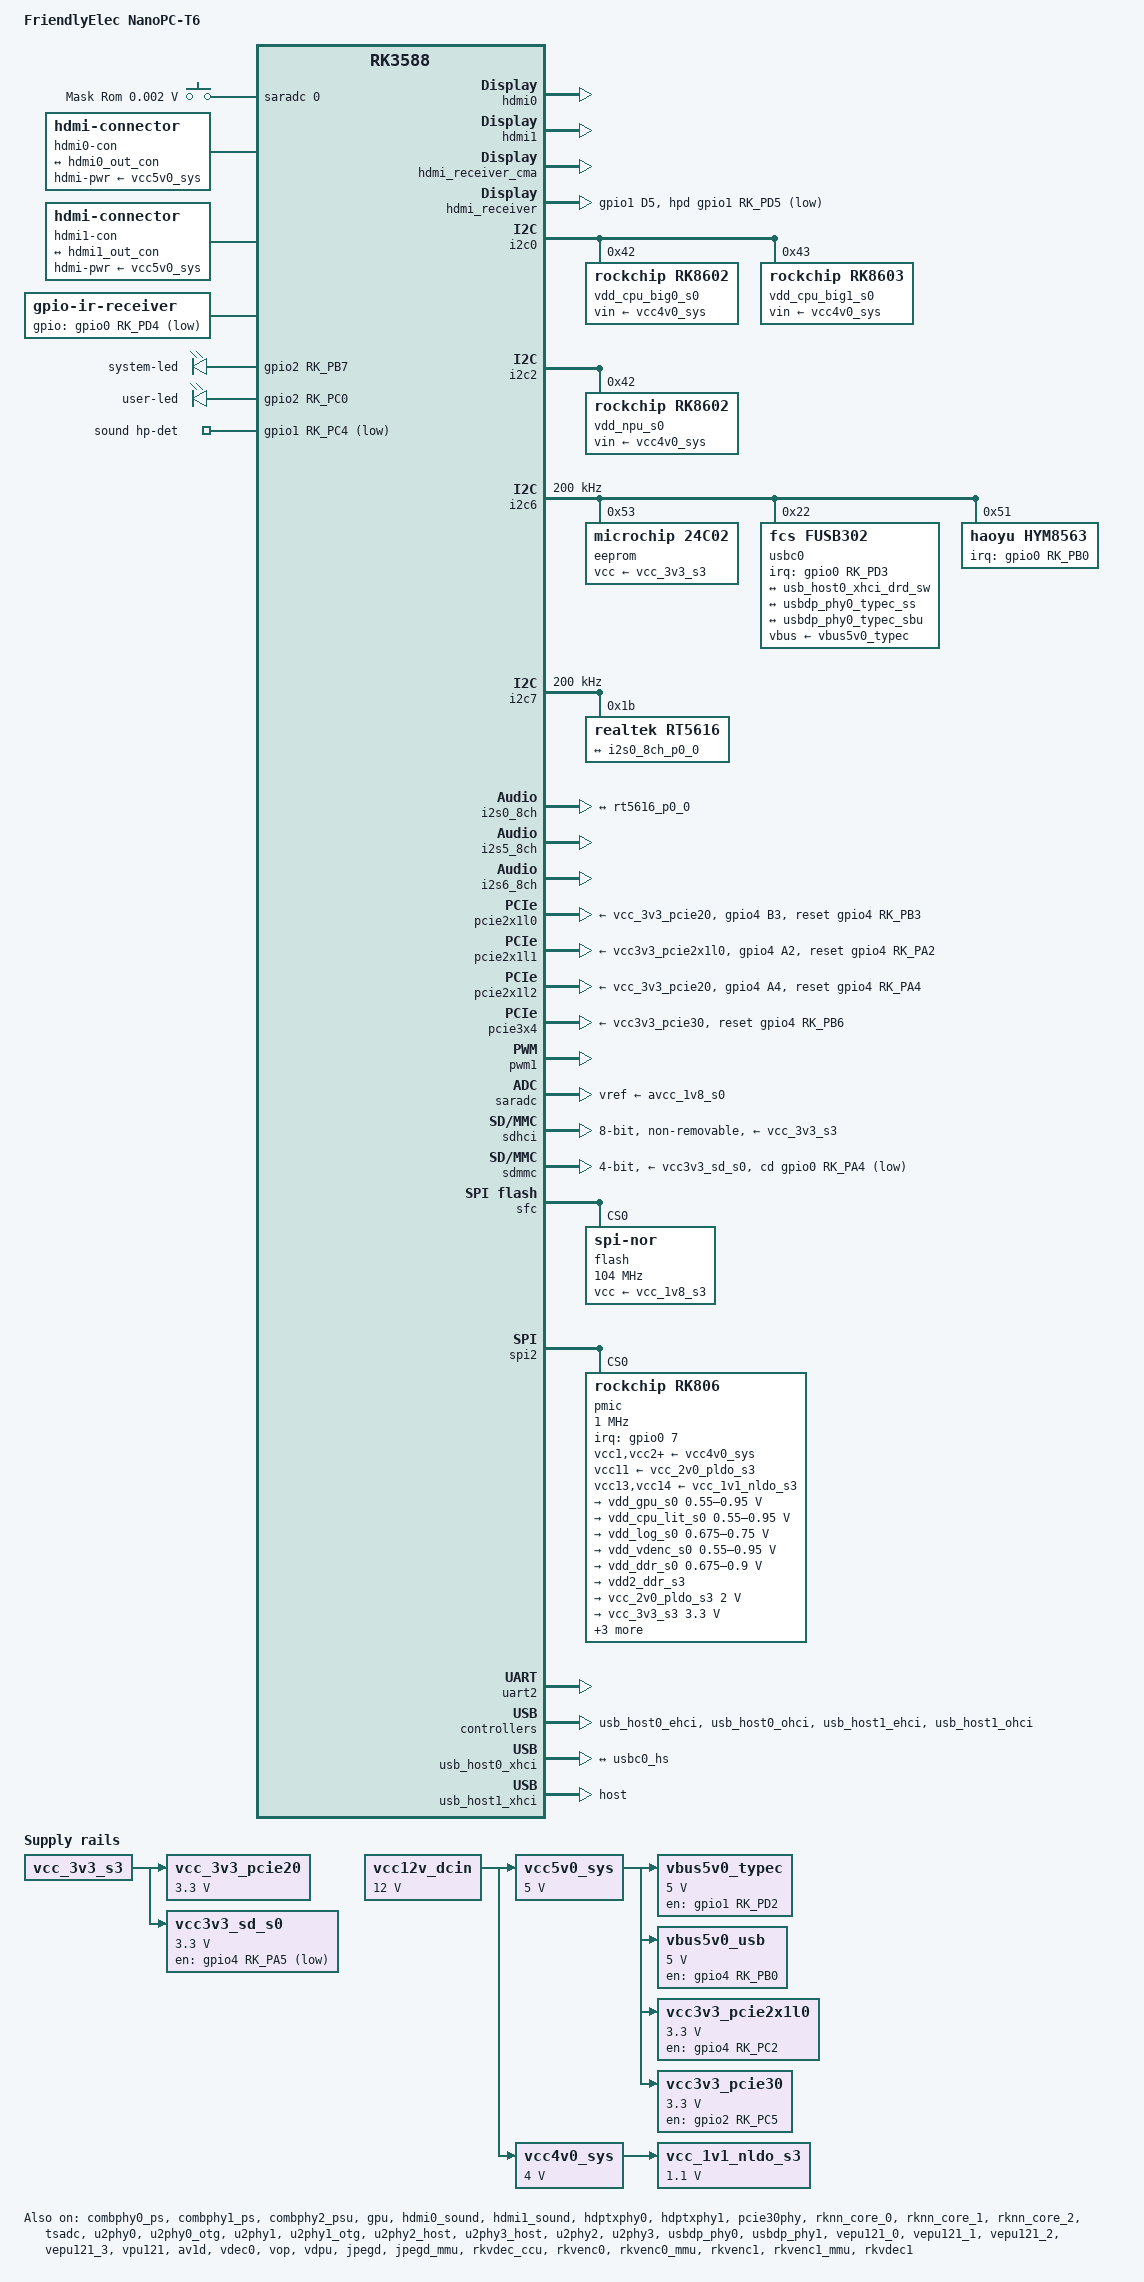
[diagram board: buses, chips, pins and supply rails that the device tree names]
// SPDX-License-Identifier: (GPL-2.0+ OR MIT)
/*
 * Copyright (c) 2021 Rockchip Electronics Co., Ltd.
 * Copyright (c) 2023 Thomas McKahan
 *
 */

/dts-v1/;

#include <dt-bindings/gpio/gpio.h>
#include <dt-bindings/input/input.h>
#include <dt-bindings/pinctrl/rockchip.h>
#include <dt-bindings/soc/rockchip,vop2.h>
#include <dt-bindings/usb/pd.h>
#include "rk3588.dtsi"

/ {
	model = "FriendlyElec NanoPC-T6";
	compatible = "friendlyarm,nanopc-t6", "rockchip,rk3588";

	aliases {
		jpege0 = &vepu121_0;
		jpege1 = &vepu121_1;
		jpege2 = &vepu121_2;
		jpege3 = &vepu121_3;
		mmc0 = &sdhci;
		mmc1 = &sdmmc;
		vdpu0 = &vdpu;
		vepu0 = &vpu121;
	};

	mpp_srv: mpp-srv {
		compatible = "rockchip,mpp-service";
		rockchip,taskqueue-count = <12>;
		rockchip,resetgroup-count = <1>;
		status = "okay";
	};

	jpege_ccu: jpege-ccu {
		compatible = "rockchip,vpu-jpege-ccu";
		status = "okay";
	};

	vdpu: vdpu@fdb50400 {
		compatible = "rockchip,vpu-decoder-v2";
		reg = <0x0 0xfdb50400 0x0 0x400>;
		interrupts = <GIC_SPI 119 IRQ_TYPE_LEVEL_HIGH 0>;
		interrupt-names = "irq_vdpu";
		clocks = <&cru ACLK_VPU>, <&cru HCLK_VPU>;
		clock-names = "aclk_vcodec", "hclk_vcodec";
		rockchip,normal-rates = <594000000>, <0>;
		assigned-clocks = <&cru ACLK_VPU>;
		assigned-clock-rates = <594000000>;
		resets = <&cru SRST_A_VPU>, <&cru SRST_H_VPU>;
		reset-names = "shared_video_a", "shared_video_h";
		rockchip,skip-pmu-idle-request;
		rockchip,disable-auto-freq;
		iommus = <&vpu121_mmu>;
		rockchip,srv = <&mpp_srv>;
		rockchip,taskqueue-node = <0>;
		rockchip,resetgroup-node = <0>;
		power-domains = <&power RK3588_PD_VDPU>;
		status = "okay";
	};

	jpegd: jpegd@fdb90000 {
		compatible = "rockchip,rkv-jpeg-decoder-v1";
		reg = <0x0 0xfdb90000 0x0 0x400>;
		interrupts = <GIC_SPI 129 IRQ_TYPE_LEVEL_HIGH 0>;
		interrupt-names = "irq_jpegd";
		clocks = <&cru ACLK_JPEG_DECODER>, <&cru HCLK_JPEG_DECODER>;
		clock-names = "aclk_vcodec", "hclk_vcodec";
		rockchip,normal-rates = <600000000>, <0>;
		assigned-clocks = <&cru ACLK_JPEG_DECODER>;
		assigned-clock-rates = <600000000>;
		resets = <&cru SRST_A_JPEG_DECODER>, <&cru SRST_H_JPEG_DECODER>;
		reset-names = "video_a", "video_h";
		rockchip,skip-pmu-idle-request;
		iommus = <&jpegd_mmu>;
		rockchip,srv = <&mpp_srv>;
		rockchip,taskqueue-node = <1>;
		power-domains = <&power RK3588_PD_VDPU>;
		status = "okay";
	};

	jpegd_mmu: iommu@fdb90480 {
		compatible = "rockchip,rk3588-iommu", "rockchip,rk3568-iommu";
		reg = <0x0 0xfdb90480 0x0 0x40>;
		interrupts = <GIC_SPI 130 IRQ_TYPE_LEVEL_HIGH 0>;
		interrupt-names = "irq_jpegd_mmu";
		clocks = <&cru ACLK_JPEG_DECODER>, <&cru HCLK_JPEG_DECODER>;
		clock-names = "aclk", "iface";
		power-domains = <&power RK3588_PD_VDPU>;
		#iommu-cells = <0>;
		status = "okay";
	};

	rkvdec_ccu: rkvdec-ccu@fdc30000 {
		compatible = "rockchip,rkv-decoder-v2-ccu";
		reg = <0x0 0xfdc30000 0x0 0x100>;
		reg-names = "ccu";
		clocks = <&cru ACLK_RKVDEC_CCU>;
		clock-names = "aclk_ccu";
		assigned-clocks = <&cru ACLK_RKVDEC_CCU>;
		assigned-clock-rates = <600000000>;
		resets = <&cru SRST_A_RKVDEC_CCU>;
		reset-names = "video_ccu";
		power-domains = <&power RK3588_PD_RKVDEC0>;
		rockchip,skip-pmu-idle-request;
		rockchip,ccu-mode = <1>;
		status = "okay";
	};

	rkvenc_ccu: rkvenc-ccu {
		compatible = "rockchip,rkv-encoder-v2-ccu";
		status = "okay";
	};

	rkvenc0: rkvenc-core@fdbd0000 {
		compatible = "rockchip,rkv-encoder-v2-core";
		reg = <0x0 0xfdbd0000 0x0 0x6000>;
		interrupts = <GIC_SPI 101 IRQ_TYPE_LEVEL_HIGH 0>;
		interrupt-names = "irq_rkvenc0";
		clocks = <&cru ACLK_RKVENC0>, <&cru HCLK_RKVENC0>,
			 <&cru CLK_RKVENC0_CORE>;
		clock-names = "aclk_vcodec", "hclk_vcodec", "clk_core";
		rockchip,normal-rates = <500000000>, <0>, <800000000>;
		assigned-clocks = <&cru ACLK_RKVENC0>, <&cru CLK_RKVENC0_CORE>;
		assigned-clock-rates = <500000000>, <800000000>;
		resets = <&cru SRST_A_RKVENC0>, <&cru SRST_H_RKVENC0>,
			 <&cru SRST_RKVENC0_CORE>;
		reset-names = "video_a", "video_h", "video_core";
		rockchip,skip-pmu-idle-request;
		iommus = <&rkvenc0_mmu>;
		rockchip,srv = <&mpp_srv>;
		rockchip,ccu = <&rkvenc_ccu>;
		rockchip,taskqueue-node = <7>;
		rockchip,task-capacity = <8>;
		power-domains = <&power RK3588_PD_VENC0>;
		operating-points-v2 = <&venc_opp_table>;
		status = "okay";
	};

	rkvenc0_mmu: iommu@fdbdf000 {
		compatible = "rockchip,rk3588-iommu", "rockchip,rk3568-iommu";
		reg = <0x0 0xfdbdf000 0x0 0x40>,
		      <0x0 0xfdbdf040 0x0 0x40>;
		interrupts = <GIC_SPI 99 IRQ_TYPE_LEVEL_HIGH 0>,
			     <GIC_SPI 100 IRQ_TYPE_LEVEL_HIGH 0>;
		interrupt-names = "irq_rkvenc0_mmu0", "irq_rkvenc0_mmu1";
		clocks = <&cru ACLK_RKVENC0>, <&cru HCLK_RKVENC0>;
		clock-names = "aclk", "iface";
		rockchip,disable-mmu-reset;
		rockchip,enable-cmd-retry;
		rockchip,shootdown-entire;
		#iommu-cells = <0>;
		power-domains = <&power RK3588_PD_VENC0>;
		status = "okay";
	};

	rkvenc1: rkvenc-core@fdbe0000 {
		compatible = "rockchip,rkv-encoder-v2-core";
		reg = <0x0 0xfdbe0000 0x0 0x6000>;
		interrupts = <GIC_SPI 104 IRQ_TYPE_LEVEL_HIGH 0>;
		interrupt-names = "irq_rkvenc1";
		clocks = <&cru ACLK_RKVENC1>, <&cru HCLK_RKVENC1>,
			 <&cru CLK_RKVENC1_CORE>;
		clock-names = "aclk_vcodec", "hclk_vcodec", "clk_core";
		rockchip,normal-rates = <500000000>, <0>, <800000000>;
		assigned-clocks = <&cru ACLK_RKVENC1>, <&cru CLK_RKVENC1_CORE>;
		assigned-clock-rates = <500000000>, <800000000>;
		resets = <&cru SRST_A_RKVENC1>, <&cru SRST_H_RKVENC1>,
			 <&cru SRST_RKVENC1_CORE>;
		reset-names = "video_a", "video_h", "video_core";
		rockchip,skip-pmu-idle-request;
		iommus = <&rkvenc1_mmu>;
		rockchip,srv = <&mpp_srv>;
		rockchip,ccu = <&rkvenc_ccu>;
		rockchip,taskqueue-node = <7>;
		rockchip,task-capacity = <8>;
		power-domains = <&power RK3588_PD_VENC1>;
		operating-points-v2 = <&venc_opp_table>;
		status = "okay";
	};

	rkvenc1_mmu: iommu@fdbef000 {
		compatible = "rockchip,rk3588-iommu", "rockchip,rk3568-iommu";
		reg = <0x0 0xfdbef000 0x0 0x40>,
		      <0x0 0xfdbef040 0x0 0x40>;
		interrupts = <GIC_SPI 102 IRQ_TYPE_LEVEL_HIGH 0>,
			     <GIC_SPI 103 IRQ_TYPE_LEVEL_HIGH 0>;
		interrupt-names = "irq_rkvenc1_mmu0", "irq_rkvenc1_mmu1";
		clocks = <&cru ACLK_RKVENC1>, <&cru HCLK_RKVENC1>;
		clock-names = "aclk", "iface";
		rockchip,disable-mmu-reset;
		rockchip,enable-cmd-retry;
		rockchip,shootdown-entire;
		#iommu-cells = <0>;
		power-domains = <&power RK3588_PD_VENC1>;
		status = "okay";
	};

	venc_opp_table: venc-opp-table {
		compatible = "operating-points-v2";

		opp-800000000 {
			opp-hz = /bits/ 64 <800000000>;
			opp-microvolt = <750000 750000 850000>,
					<750000 750000 850000>;
		};
	};

	rkvdec1: rkvdec-core@fdc48000 {
		compatible = "rockchip,rkv-decoder-v2";
		reg = <0x0 0xfdc48100 0x0 0x400>,
		      <0x0 0xfdc48000 0x0 0x100>;
		reg-names = "regs", "link";
		interrupts = <GIC_SPI 97 IRQ_TYPE_LEVEL_HIGH 0>;
		interrupt-names = "irq_rkvdec1";
		clocks = <&cru ACLK_RKVDEC1>, <&cru HCLK_RKVDEC1>,
			 <&cru CLK_RKVDEC1_CORE>, <&cru CLK_RKVDEC1_CA>,
			 <&cru CLK_RKVDEC1_HEVC_CA>;
		clock-names = "aclk_vcodec", "hclk_vcodec", "clk_core",
			      "clk_cabac", "clk_hevc_cabac";
		rockchip,normal-rates = <800000000>, <0>, <600000000>,
					<600000000>, <1000000000>;
		assigned-clocks = <&cru ACLK_RKVDEC1>, <&cru CLK_RKVDEC1_CORE>,
				  <&cru CLK_RKVDEC1_CA>, <&cru CLK_RKVDEC1_HEVC_CA>;
		assigned-clock-rates = <800000000>, <600000000>,
				       <600000000>, <1000000000>;
		resets = <&cru SRST_A_RKVDEC1>, <&cru SRST_H_RKVDEC1>,
			 <&cru SRST_RKVDEC1_CORE>, <&cru SRST_RKVDEC1_CA>,
			 <&cru SRST_RKVDEC1_HEVC_CA>;
		reset-names = "video_a", "video_h", "video_core",
			      "video_cabac", "video_hevc_cabac";
		rockchip,skip-pmu-idle-request;
		iommus = <&rkvdec1_mmu>;
		rockchip,srv = <&mpp_srv>;
		rockchip,ccu = <&rkvdec_ccu>;
		rockchip,core-mask = <0x00020002>;
		rockchip,task-capacity = <16>;
		rockchip,taskqueue-node = <9>;
		rockchip,sram = <&vdec1_sram>;
		rockchip,rcb-iova = <0xFFE00000 0x100000>;
		rockchip,rcb-info = <136 24576>, <137 49152>, <141 90112>,
				    <140 49152>, <139 180224>, <133 49152>,
				    <134 8192>, <135 4352>, <138 13056>,
				    <142 291584>;
		rockchip,rcb-min-width = <512>;
		power-domains = <&power RK3588_PD_RKVDEC1>;
		status = "okay";
	};

	rkvdec1_mmu: iommu@fdc48700 {
		compatible = "rockchip,rk3588-iommu", "rockchip,rk3568-iommu";
		reg = <0x0 0xfdc48700 0x0 0x40>,
		      <0x0 0xfdc48740 0x0 0x40>;
		interrupts = <GIC_SPI 98 IRQ_TYPE_LEVEL_HIGH 0>;
		interrupt-names = "irq_rkvdec1_mmu";
		clocks = <&cru ACLK_RKVDEC1>, <&cru HCLK_RKVDEC1>;
		clock-names = "aclk", "iface";
		rockchip,disable-mmu-reset;
		rockchip,enable-cmd-retry;
		rockchip,shootdown-entire;
		rockchip,master-handle-irq;
		#iommu-cells = <0>;
		power-domains = <&power RK3588_PD_RKVDEC1>;
		status = "okay";
	};

	av1d_mmu: iommu@fdca0000 {
		compatible = "rockchip,iommu-av1d";
		reg = <0x0 0xfdca0000 0x0 0x600>;
		interrupts = <GIC_SPI 109 IRQ_TYPE_LEVEL_HIGH 0>;
		interrupt-names = "irq_av1d_mmu";
		clocks = <&cru ACLK_AV1>, <&cru PCLK_AV1>;
		clock-names = "aclk", "iface";
		#iommu-cells = <0>;
		power-domains = <&power RK3588_PD_AV1>;
		status = "okay";
	};

	adc-keys-0 {
		compatible = "adc-keys";
		io-channels = <&saradc 0>;
		io-channel-names = "buttons";
		keyup-threshold-microvolt = <1800000>;
		poll-interval = <100>;

		button-maskrom {
			label = "Mask Rom";
			linux,code = <KEY_SETUP>;
			press-threshold-microvolt = <2000>;
		};
	};

	chosen {
		stdout-path = "serial2:1500000n8";
	};

	hdmi0-con {
		compatible = "hdmi-connector";
		hdmi-pwr-supply = <&vcc5v0_sys>;
		type = "a";

		port {
			hdmi0_con_in: endpoint {
				remote-endpoint = <&hdmi0_out_con>;
			};
		};
	};

	hdmi1-con {
		compatible = "hdmi-connector";
		hdmi-pwr-supply = <&vcc5v0_sys>;
		type = "a";

		port {
			hdmi1_con_in: endpoint {
				remote-endpoint = <&hdmi1_out_con>;
			};
		};
	};

	ir-receiver {
		compatible = "gpio-ir-receiver";
		gpios = <&gpio0 RK_PD4 GPIO_ACTIVE_LOW>;
		pinctrl-names = "default";
		pinctrl-0 = <&ir_receiver_pin>;
	};

	leds {
		compatible = "gpio-leds";

		sys_led: led-0 {
			gpios = <&gpio2 RK_PB7 GPIO_ACTIVE_HIGH>;
			label = "system-led";
			linux,default-trigger = "heartbeat";
			pinctrl-names = "default";
			pinctrl-0 = <&sys_led_pin>;
		};

		usr_led: led-1 {
			gpios = <&gpio2 RK_PC0 GPIO_ACTIVE_HIGH>;
			label = "user-led";
			pinctrl-names = "default";
			pinctrl-0 = <&usr_led_pin>;
		};
	};

	sound {
		compatible = "simple-audio-card";
		pinctrl-names = "default";
		pinctrl-0 = <&hp_det>;

		simple-audio-card,name = "realtek,rt5616-codec";
		simple-audio-card,format = "i2s";
		simple-audio-card,mclk-fs = <256>;

		simple-audio-card,hp-det-gpios = <&gpio1 RK_PC4 GPIO_ACTIVE_LOW>;

		simple-audio-card,widgets =
			"Headphone", "Headphones",
			"Microphone", "Microphone Jack";
		simple-audio-card,routing =
			"Headphones", "HPOL",
			"Headphones", "HPOR",
			"MIC1", "Microphone Jack",
			"Microphone Jack", "micbias1";

		simple-audio-card,cpu {
			sound-dai = <&i2s0_8ch>;
		};
		simple-audio-card,codec {
			sound-dai = <&rt5616>;
		};
	};

	vcc12v_dcin: regulator-vcc12v-dcin {
		compatible = "regulator-fixed";
		regulator-name = "vcc12v_dcin";
		regulator-always-on;
		regulator-boot-on;
		regulator-min-microvolt = <12000000>;
		regulator-max-microvolt = <12000000>;
	};

	/* vcc5v0_sys powers peripherals */
	vcc5v0_sys: regulator-vcc5v0-sys {
		compatible = "regulator-fixed";
		regulator-name = "vcc5v0_sys";
		regulator-always-on;
		regulator-boot-on;
		regulator-min-microvolt = <5000000>;
		regulator-max-microvolt = <5000000>;
		vin-supply = <&vcc12v_dcin>;
	};

	/* vcc4v0_sys powers the RK806, RK860's */
	vcc4v0_sys: regulator-vcc4v0-sys {
		compatible = "regulator-fixed";
		regulator-name = "vcc4v0_sys";
		regulator-always-on;
		regulator-boot-on;
		regulator-min-microvolt = <4000000>;
		regulator-max-microvolt = <4000000>;
		vin-supply = <&vcc12v_dcin>;
	};

	vcc_1v1_nldo_s3: regulator-vcc-1v1-nldo-s3 {
		compatible = "regulator-fixed";
		regulator-name = "vcc-1v1-nldo-s3";
		regulator-always-on;
		regulator-boot-on;
		regulator-min-microvolt = <1100000>;
		regulator-max-microvolt = <1100000>;
		vin-supply = <&vcc4v0_sys>;
	};

	vcc_3v3_pcie20: regulator-vcc3v3-pcie20 {
		compatible = "regulator-fixed";
		regulator-name = "vcc_3v3_pcie20";
		regulator-always-on;
		regulator-boot-on;
		regulator-min-microvolt = <3300000>;
		regulator-max-microvolt = <3300000>;
		vin-supply = <&vcc_3v3_s3>;
	};

	vbus5v0_typec: regulator-vbus5v0-typec {
		compatible = "regulator-fixed";
		enable-active-high;
		gpio = <&gpio1 RK_PD2 GPIO_ACTIVE_HIGH>;
		pinctrl-names = "default";
		pinctrl-0 = <&typec5v_pwren>;
		regulator-name = "vbus5v0_typec";
		regulator-min-microvolt = <5000000>;
		regulator-max-microvolt = <5000000>;
		vin-supply = <&vcc5v0_sys>;
	};

	vbus5v0_usb: regulator-vbus5v0-usb {
		compatible = "regulator-fixed";
		enable-active-high;
		gpio = <&gpio4 RK_PB0 GPIO_ACTIVE_HIGH>;
		pinctrl-names = "default";
		pinctrl-0 = <&usb5v_pwren>;
		regulator-name = "vbus5v0_usb";
		regulator-min-microvolt = <5000000>;
		regulator-max-microvolt = <5000000>;
		vin-supply = <&vcc5v0_sys>;
	};

	vcc3v3_pcie2x1l0: regulator-vcc3v3-pcie2x1l0 {
		compatible = "regulator-fixed";
		enable-active-high;
		gpio = <&gpio4 RK_PC2 GPIO_ACTIVE_HIGH>;
		pinctrl-names = "default";
		pinctrl-0 = <&pcie_m2_1_pwren>;
		regulator-name = "vcc3v3_pcie2x1l0";
		regulator-min-microvolt = <3300000>;
		regulator-max-microvolt = <3300000>;
		vin-supply = <&vcc5v0_sys>;
	};

	vcc3v3_pcie30: regulator-vcc3v3-pcie30 {
		compatible = "regulator-fixed";
		enable-active-high;
		gpios = <&gpio2 RK_PC5 GPIO_ACTIVE_HIGH>;
		pinctrl-names = "default";
		pinctrl-0 = <&pcie_m2_0_pwren>;
		regulator-name = "vcc3v3_pcie30";
		regulator-min-microvolt = <3300000>;
		regulator-max-microvolt = <3300000>;
		vin-supply = <&vcc5v0_sys>;
	};

	vcc3v3_sd_s0: regulator-vcc3v3-sd-s0 {
		compatible = "regulator-fixed";
		gpio = <&gpio4 RK_PA5 GPIO_ACTIVE_LOW>;
		regulator-boot-on;
		regulator-max-microvolt = <3300000>;
		regulator-min-microvolt = <3300000>;
		regulator-name = "vcc3v3_sd_s0";
		vin-supply = <&vcc_3v3_s3>;
	};
};

&combphy0_ps {
	status = "okay";
};

&combphy1_ps {
	status = "okay";
};

&combphy2_psu {
	status = "okay";
};

&cpu_l0 {
	cpu-supply = <&vdd_cpu_lit_s0>;
};

&cpu_l1 {
	cpu-supply = <&vdd_cpu_lit_s0>;
};

&cpu_l2 {
	cpu-supply = <&vdd_cpu_lit_s0>;
};

&cpu_l3 {
	cpu-supply = <&vdd_cpu_lit_s0>;
};

&cpu_b0 {
	cpu-supply = <&vdd_cpu_big0_s0>;
};

&cpu_b1 {
	cpu-supply = <&vdd_cpu_big0_s0>;
};

&cpu_b2 {
	cpu-supply = <&vdd_cpu_big1_s0>;
};

&cpu_b3 {
	cpu-supply = <&vdd_cpu_big1_s0>;
};

&gpio0 {
	gpio-line-names = /* GPIO0 A0-A7 */
			  "", "", "", "",
			  "", "", "", "",
			  /* GPIO0 B0-B7 */
			  "", "", "", "",
			  "", "", "", "",
			  /* GPIO0 C0-C7 */
			  "", "", "", "",
			  "HEADER_10", "HEADER_08", "HEADER_32", "",
			  /* GPIO0 D0-D7 */
			  "", "", "", "",
			  "IR receiver [PWM3_IR_M0]", "", "", "";
};

&gpio1 {
	gpio-line-names = /* GPIO1 A0-A7 */
			  "HEADER_27", "HEADER_28", "", "",
			  "", "", "", "HEADER_15",
			  /* GPIO1 B0-B7 */
			  "HEADER_26", "HEADER_21", "HEADER_19", "HEADER_23",
			  "HEADER_24", "HEADER_22", "", "",
			  /* GPIO1 C0-C7 */
			  "", "", "", "",
			  "", "", "", "",
			  /* GPIO1 D0-D7 */
			  "", "", "", "",
			  "", "", "HEADER_05", "HEADER_03";
};

&gpio2 {
	gpio-line-names = /* GPIO2 A0-A7 */
			  "", "", "", "",
			  "", "", "", "",
			  /* GPIO2 B0-B7 */
			  "", "", "", "",
			  "", "", "", "",
			  /* GPIO2 C0-C7 */
			  "", "CSI1_11", "CSI1_12", "",
			  "", "", "", "",
			  /* GPIO2 D0-D7 */
			  "", "", "", "",
			  "", "", "", "";
};

&gpio3 {
	gpio-line-names = /* GPIO3 A0-A7 */
			  "HEADER_35", "HEADER_38", "HEADER_40", "HEADER_36",
			  "HEADER_37", "", "DSI0_12", "",
			  /* GPIO3 B0-B7 */
			  "HEADER_33", "DSI0_10", "HEADER_07", "HEADER_16",
			  "HEADER_18", "HEADER_29", "HEADER_31", "HEADER_12",
			  /* GPIO3 C0-C7 */
			  "DSI0_08", "DSI0_14", "HEADER_11", "HEADER_13",
			  "", "", "", "",
			  /* GPIO3 D0-D7 */
			  "", "", "", "",
			  "", "DSI1_10", "", "";
};

&gpio4 {
	gpio-line-names = /* GPIO4 A0-A7 */
			  "DSI1_08", "DSI1_14", "", "DSI1_12",
			  "", "", "", "",
			  /* GPIO4 B0-B7 */
			  "", "", "", "",
			  "", "", "", "",
			  /* GPIO4 C0-C7 */
			  "", "", "", "",
			  "CSI0_11", "CSI0_12", "", "",
			  /* GPIO4 D0-D7 */
			  "", "", "", "",
			  "", "", "", "";
};

&gpu {
	mali-supply = <&vdd_gpu_s0>;
	status = "okay";
};

&hdmi0 {
	status = "okay";
};

&hdmi0_in {
	hdmi0_in_vp0: endpoint {
		remote-endpoint = <&vp0_out_hdmi0>;
	};
};

&hdmi0_out {
	hdmi0_out_con: endpoint {
		remote-endpoint = <&hdmi0_con_in>;
	};
};

&hdmi0_sound {
	status = "okay";
};

&hdmi1 {
	status = "okay";
};

&hdmi1_in {
	hdmi1_in_vp1: endpoint {
		remote-endpoint = <&vp1_out_hdmi1>;
	};
};

&hdmi1_out {
	hdmi1_out_con: endpoint {
		remote-endpoint = <&hdmi1_con_in>;
	};
};

&hdmi1_sound {
	status = "okay";
};

&hdmi_receiver_cma {
	status = "okay";
};

&hdmi_receiver {
	hpd-gpios = <&gpio1 RK_PD5 GPIO_ACTIVE_LOW>;
	pinctrl-0 = <&hdmim1_rx_cec &hdmim1_rx_hpdin &hdmim1_rx_scl &hdmim1_rx_sda &hdmirx_hpd>;
	pinctrl-names = "default";
	status = "okay";
};

&hdptxphy0 {
	status = "okay";
};

&hdptxphy1 {
	status = "okay";
};

&i2c0 {
	pinctrl-names = "default";
	pinctrl-0 = <&i2c0m2_xfer>;
	status = "okay";

	vdd_cpu_big0_s0: regulator@42 {
		compatible = "rockchip,rk8602";
		reg = <0x42>;
		fcs,suspend-voltage-selector = <1>;
		regulator-name = "vdd_cpu_big0_s0";
		regulator-always-on;
		regulator-boot-on;
		regulator-min-microvolt = <550000>;
		regulator-max-microvolt = <1050000>;
		regulator-ramp-delay = <2300>;
		vin-supply = <&vcc4v0_sys>;

		regulator-state-mem {
			regulator-off-in-suspend;
		};
	};

	vdd_cpu_big1_s0: regulator@43 {
		compatible = "rockchip,rk8603", "rockchip,rk8602";
		reg = <0x43>;
		fcs,suspend-voltage-selector = <1>;
		regulator-name = "vdd_cpu_big1_s0";
		regulator-always-on;
		regulator-boot-on;
		regulator-min-microvolt = <550000>;
		regulator-max-microvolt = <1050000>;
		regulator-ramp-delay = <2300>;
		vin-supply = <&vcc4v0_sys>;

		regulator-state-mem {
			regulator-off-in-suspend;
		};
	};
};

&i2c2 {
	status = "okay";

	vdd_npu_s0: regulator@42 {
		compatible = "rockchip,rk8602";
		reg = <0x42>;
		fcs,suspend-voltage-selector = <1>;
		regulator-name = "vdd_npu_s0";
		regulator-boot-on;
		regulator-min-microvolt = <550000>;
		regulator-max-microvolt = <950000>;
		regulator-ramp-delay = <2300>;
		vin-supply = <&vcc4v0_sys>;

		regulator-state-mem {
			regulator-off-in-suspend;
		};
	};
};

&i2c6 {
	clock-frequency = <200000>;
	status = "okay";

	eeprom@53 {
		compatible = "microchip,24c02", "atmel,24c02";
		reg = <0x53>;
		#address-cells = <2>;
		#size-cells = <0>;
		pagesize = <16>;
		size = <256>;
		vcc-supply = <&vcc_3v3_s3>;

		eui_48: eui-48@fa {
			reg = <0xfa 0x06>;
		};
	};

	usbc0: usb-typec@22 {
		compatible = "fcs,fusb302";
		reg = <0x22>;
		interrupt-parent = <&gpio0>;
		interrupts = <RK_PD3 IRQ_TYPE_LEVEL_LOW>;
		pinctrl-names = "default";
		pinctrl-0 = <&usbc0_int>;
		vbus-supply = <&vbus5v0_typec>;
		status = "okay";

		connector {
			compatible = "usb-c-connector";
			data-role = "dual";
			label = "USB-C";
			op-sink-microwatt = <1000000>;
			/* fusb302 supports PD Rev 2.0 Ver 1.2 */
			pd-revision = /bits/ 8 <0x2 0x0 0x1 0x2>;
			power-role = "dual";
			sink-pdos = <PDO_FIXED(5000, 3000, PDO_FIXED_USB_COMM)>;
			source-pdos = <PDO_FIXED(5000, 2000, PDO_FIXED_USB_COMM)>;
			try-power-role = "source";
			typec-power-opmode = "1.5A";

			ports {
				#address-cells = <1>;
				#size-cells = <0>;

				port@0 {
					reg = <0>;
					usbc0_hs: endpoint {
						remote-endpoint = <&usb_host0_xhci_drd_sw>;
					};
				};

				port@1 {
					reg = <1>;
					usbc0_ss: endpoint {
						remote-endpoint = <&usbdp_phy0_typec_ss>;
					};
				};

				port@2 {
					reg = <2>;
					usbc0_sbu: endpoint {
						remote-endpoint = <&usbdp_phy0_typec_sbu>;
					};
				};
			};
		};
	};

	hym8563: rtc@51 {
		compatible = "haoyu,hym8563";
		reg = <0x51>;
		#clock-cells = <0>;
		clock-output-names = "hym8563";
		pinctrl-names = "default";
		pinctrl-0 = <&hym8563_int>;
		interrupt-parent = <&gpio0>;
		interrupts = <RK_PB0 IRQ_TYPE_LEVEL_LOW>;
		wakeup-source;
	};
};

&i2c7 {
	clock-frequency = <200000>;
	status = "okay";

	rt5616: codec@1b {
		compatible = "realtek,rt5616";
		reg = <0x1b>;
		clocks = <&cru I2S0_8CH_MCLKOUT>;
		clock-names = "mclk";
		#sound-dai-cells = <0>;
		assigned-clocks = <&cru I2S0_8CH_MCLKOUT>;
		assigned-clock-rates = <12288000>;

		port {
			rt5616_p0_0: endpoint {
				remote-endpoint = <&i2s0_8ch_p0_0>;
			};
		};
	};

	/* connected with MIPI-CSI1 */
};

&i2c8 {
	pinctrl-0 = <&i2c8m2_xfer>;
};

&i2s0_8ch {
	pinctrl-names = "default";
	pinctrl-0 = <&i2s0_lrck
		     &i2s0_mclk
		     &i2s0_sclk
		     &i2s0_sdi0
		     &i2s0_sdo0>;
	status = "okay";

	i2s0_8ch_p0: port {
		i2s0_8ch_p0_0: endpoint {
			dai-format = "i2s";
			mclk-fs = <256>;
			remote-endpoint = <&rt5616_p0_0>;
		};
	};
};

&i2s5_8ch {
	status = "okay";
};

&i2s6_8ch {
	status = "okay";
};

&pcie2x1l0 {
	reset-gpios = <&gpio4 RK_PB3 GPIO_ACTIVE_HIGH>;
	vpcie3v3-supply = <&vcc_3v3_pcie20>;
	pinctrl-names = "default";
	pinctrl-0 = <&pcie2_0_rst>;
	status = "okay";
};

&pcie2x1l1 {
	reset-gpios = <&gpio4 RK_PA2 GPIO_ACTIVE_HIGH>;
	vpcie3v3-supply = <&vcc3v3_pcie2x1l0>;
	pinctrl-names = "default";
	pinctrl-0 = <&pcie2_1_rst>;
	status = "okay";
};

&pcie2x1l2 {
	reset-gpios = <&gpio4 RK_PA4 GPIO_ACTIVE_HIGH>;
	vpcie3v3-supply = <&vcc_3v3_pcie20>;
	pinctrl-names = "default";
	pinctrl-0 = <&pcie2_2_rst>;
	status = "okay";
};

&pcie30phy {
	status = "okay";
};

/delete-node/ &pcie3x4_ep;

&pcie3x4 {
	reset-gpios = <&gpio4 RK_PB6 GPIO_ACTIVE_HIGH>;
	vpcie3v3-supply = <&vcc3v3_pcie30>;
	status = "okay";
};

&pd_gpu {
	domain-supply = <&vdd_gpu_s0>;
};

&pd_npu {
	domain-supply = <&vdd_npu_s0>;
};

&pinctrl {
	gpio-leds {
		sys_led_pin: sys-led-pin {
			rockchip,pins = <2 RK_PB7 RK_FUNC_GPIO &pcfg_pull_none>;
		};

		usr_led_pin: usr-led-pin {
			rockchip,pins = <2 RK_PC0 RK_FUNC_GPIO &pcfg_pull_none>;
		};
	};

	hdmirx {
		hdmirx_hpd: hdmirx-5v-detection {
			rockchip,pins = <1 RK_PD5 RK_FUNC_GPIO &pcfg_pull_none>;
		};
	};

	headphone {
		hp_det: hp-det {
			rockchip,pins = <1 RK_PC4 RK_FUNC_GPIO &pcfg_pull_none>;
		};
	};

	hym8563 {
		hym8563_int: hym8563-int {
			rockchip,pins = <0 RK_PB0 RK_FUNC_GPIO &pcfg_pull_up>;
		};
	};

	ir-receiver {
		ir_receiver_pin: ir-receiver-pin {
			rockchip,pins = <0 RK_PD4 RK_FUNC_GPIO &pcfg_pull_none>;
		};
	};

	pcie {
		pcie2_0_rst: pcie2-0-rst {
			rockchip,pins = <4 RK_PB3 RK_FUNC_GPIO &pcfg_pull_none>;
		};

		pcie2_1_rst: pcie2-1-rst {
			rockchip,pins = <4 RK_PA2 RK_FUNC_GPIO &pcfg_pull_none>;
		};

		pcie2_2_rst: pcie2-2-rst {
			rockchip,pins = <4 RK_PA4 RK_FUNC_GPIO &pcfg_pull_none>;
		};

		pcie_m2_0_pwren: pcie-m20-pwren {
			rockchip,pins = <2 RK_PC5 RK_FUNC_GPIO &pcfg_pull_none>;
		};

		pcie_m2_1_pwren: pcie-m21-pwren {
			rockchip,pins = <4 RK_PC2 RK_FUNC_GPIO &pcfg_pull_none>;
		};
	};

	usb {
		typec5v_pwren: typec5v-pwren {
			rockchip,pins = <1 RK_PD2 RK_FUNC_GPIO &pcfg_pull_none>;
		};

		usb5v_pwren: usb5v_pwren {
			rockchip,pins = <4 RK_PB0 RK_FUNC_GPIO &pcfg_pull_none>;
		};

		usbc0_int: usbc0-int {
			rockchip,pins = <0 RK_PD3 RK_FUNC_GPIO &pcfg_pull_up>;
		};
	};
};

&pwm1 {
	pinctrl-0 = <&pwm1m1_pins>;
	status = "okay";
};

&rknn_core_0 {
	npu-supply = <&vdd_npu_s0>;
	sram-supply = <&vdd_npu_s0>;
	status = "okay";
};

&rknn_core_1 {
	npu-supply = <&vdd_npu_s0>;
	sram-supply = <&vdd_npu_s0>;
	status = "okay";
};

&rknn_core_2 {
	npu-supply = <&vdd_npu_s0>;
	sram-supply = <&vdd_npu_s0>;
	status = "okay";
};

&rknn_mmu_0 {
	status = "okay";
};

&rknn_mmu_1 {
	status = "okay";
};

&rknn_mmu_2 {
	status = "okay";
};


&saradc {
	vref-supply = <&avcc_1v8_s0>;
	status = "okay";
};

&sdhci {
	bus-width = <8>;
	no-sdio;
	no-sd;
	non-removable;
	max-frequency = <200000000>;
	mmc-hs400-1_8v;
	mmc-hs400-enhanced-strobe;
	vmmc-supply = <&vcc_3v3_s3>;
	vqmmc-supply = <&vcc_1v8_s3>;
	status = "okay";
};

&sdmmc {
	bus-width = <4>;
	cap-mmc-highspeed;
	cap-sd-highspeed;
	cd-gpios = <&gpio0 RK_PA4 GPIO_ACTIVE_LOW>;
	disable-wp;
	no-mmc;
	no-sdio;
	sd-uhs-sdr104;
	vmmc-supply = <&vcc3v3_sd_s0>;
	vqmmc-supply = <&vccio_sd_s0>;
	status = "okay";
};

/* optional on non-LTS, populated on LTS version */
&sfc {
	pinctrl-names = "default";
	pinctrl-0 = <&fspim1_pins>;
	status = "okay";

	flash@0 {
		compatible = "jedec,spi-nor";
		reg = <0>;
		spi-max-frequency = <104000000>;
		spi-rx-bus-width = <4>;
		spi-tx-bus-width = <1>;
		vcc-supply = <&vcc_1v8_s3>;
	};
};

&spi2 {
	status = "okay";
	assigned-clocks = <&cru CLK_SPI2>;
	assigned-clock-rates = <200000000>;
	pinctrl-names = "default";
	pinctrl-0 = <&spi2m2_cs0 &spi2m2_pins>;
	num-cs = <1>;

	pmic@0 {
		compatible = "rockchip,rk806";
		spi-max-frequency = <1000000>;
		reg = <0x0>;

		interrupt-parent = <&gpio0>;
		interrupts = <7 IRQ_TYPE_LEVEL_LOW>;

		pinctrl-names = "default";
		pinctrl-0 = <&pmic_pins>, <&rk806_dvs1_null>,
			    <&rk806_dvs2_null>, <&rk806_dvs3_null>;

		system-power-controller;

		vcc1-supply = <&vcc4v0_sys>;
		vcc2-supply = <&vcc4v0_sys>;
		vcc3-supply = <&vcc4v0_sys>;
		vcc4-supply = <&vcc4v0_sys>;
		vcc5-supply = <&vcc4v0_sys>;
		vcc6-supply = <&vcc4v0_sys>;
		vcc7-supply = <&vcc4v0_sys>;
		vcc8-supply = <&vcc4v0_sys>;
		vcc9-supply = <&vcc4v0_sys>;
		vcc10-supply = <&vcc4v0_sys>;
		vcc11-supply = <&vcc_2v0_pldo_s3>;
		vcc12-supply = <&vcc4v0_sys>;
		vcc13-supply = <&vcc_1v1_nldo_s3>;
		vcc14-supply = <&vcc_1v1_nldo_s3>;
		vcca-supply = <&vcc4v0_sys>;

		gpio-controller;
		#gpio-cells = <2>;

		rk806_dvs1_null: dvs1-null-pins {
			pins = "gpio_pwrctrl1";
			function = "pin_fun0";
		};

		rk806_dvs2_null: dvs2-null-pins {
			pins = "gpio_pwrctrl2";
			function = "pin_fun0";
		};

		rk806_dvs3_null: dvs3-null-pins {
			pins = "gpio_pwrctrl3";
			function = "pin_fun0";
		};

		regulators {
			vdd_gpu_s0: vdd_gpu_mem_s0: dcdc-reg1 {
				regulator-boot-on;
				regulator-min-microvolt = <550000>;
				regulator-max-microvolt = <950000>;
				regulator-ramp-delay = <12500>;
				regulator-name = "vdd_gpu_s0";
				regulator-enable-ramp-delay = <400>;

				regulator-state-mem {
					regulator-off-in-suspend;
				};
			};

			vdd_cpu_lit_s0: vdd_cpu_lit_mem_s0: dcdc-reg2 {
				regulator-always-on;
				regulator-boot-on;
				regulator-min-microvolt = <550000>;
				regulator-max-microvolt = <950000>;
				regulator-ramp-delay = <12500>;
				regulator-name = "vdd_cpu_lit_s0";

				regulator-state-mem {
					regulator-off-in-suspend;
				};
			};

			vdd_log_s0: dcdc-reg3 {
				regulator-always-on;
				regulator-boot-on;
				regulator-min-microvolt = <675000>;
				regulator-max-microvolt = <750000>;
				regulator-ramp-delay = <12500>;
				regulator-name = "vdd_log_s0";

				regulator-state-mem {
					regulator-off-in-suspend;
					regulator-suspend-microvolt = <750000>;
				};
			};

			vdd_vdenc_s0: vdd_vdenc_mem_s0: dcdc-reg4 {
				regulator-always-on;
				regulator-boot-on;
				regulator-min-microvolt = <550000>;
				regulator-max-microvolt = <950000>;
				regulator-ramp-delay = <12500>;
				regulator-name = "vdd_vdenc_s0";

				regulator-state-mem {
					regulator-off-in-suspend;
				};
			};

			vdd_ddr_s0: dcdc-reg5 {
				regulator-always-on;
				regulator-boot-on;
				regulator-min-microvolt = <675000>;
				regulator-max-microvolt = <900000>;
				regulator-ramp-delay = <12500>;
				regulator-name = "vdd_ddr_s0";

				regulator-state-mem {
					regulator-off-in-suspend;
					regulator-suspend-microvolt = <850000>;
				};
			};

			vdd2_ddr_s3: dcdc-reg6 {
				regulator-always-on;
				regulator-boot-on;
				regulator-name = "vdd2_ddr_s3";

				regulator-state-mem {
					regulator-on-in-suspend;
				};
			};

			vcc_2v0_pldo_s3: dcdc-reg7 {
				regulator-always-on;
				regulator-boot-on;
				regulator-min-microvolt = <2000000>;
				regulator-max-microvolt = <2000000>;
				regulator-ramp-delay = <12500>;
				regulator-name = "vdd_2v0_pldo_s3";

				regulator-state-mem {
					regulator-on-in-suspend;
					regulator-suspend-microvolt = <2000000>;
				};
			};

			vcc_3v3_s3: dcdc-reg8 {
				regulator-always-on;
				regulator-boot-on;
				regulator-min-microvolt = <3300000>;
				regulator-max-microvolt = <3300000>;
				regulator-name = "vcc_3v3_s3";

				regulator-state-mem {
					regulator-on-in-suspend;
					regulator-suspend-microvolt = <3300000>;
				};
			};

			vddq_ddr_s0: dcdc-reg9 {
				regulator-always-on;
				regulator-boot-on;
				regulator-name = "vddq_ddr_s0";

				regulator-state-mem {
					regulator-off-in-suspend;
				};
			};

			vcc_1v8_s3: dcdc-reg10 {
				regulator-always-on;
				regulator-boot-on;
				regulator-min-microvolt = <1800000>;
				regulator-max-microvolt = <1800000>;
				regulator-name = "vcc_1v8_s3";

				regulator-state-mem {
					regulator-on-in-suspend;
					regulator-suspend-microvolt = <1800000>;
				};
			};

			avcc_1v8_s0: pldo-reg1 {
				regulator-always-on;
				regulator-boot-on;
				regulator-min-microvolt = <1800000>;
				regulator-max-microvolt = <1800000>;
				regulator-name = "avcc_1v8_s0";

				regulator-state-mem {
					regulator-off-in-suspend;
				};
			};

			vcc_1v8_s0: pldo-reg2 {
				regulator-always-on;
				regulator-boot-on;
				regulator-min-microvolt = <1800000>;
				regulator-max-microvolt = <1800000>;
				regulator-name = "vcc_1v8_s0";

				regulator-state-mem {
					regulator-off-in-suspend;
					regulator-suspend-microvolt = <1800000>;
				};
			};

			avdd_1v2_s0: pldo-reg3 {
				regulator-always-on;
				regulator-boot-on;
				regulator-min-microvolt = <1200000>;
				regulator-max-microvolt = <1200000>;
				regulator-name = "avdd_1v2_s0";

				regulator-state-mem {
					regulator-off-in-suspend;
				};
			};

			vcc_3v3_s0: pldo-reg4 {
				regulator-always-on;
				regulator-boot-on;
				regulator-min-microvolt = <3300000>;
				regulator-max-microvolt = <3300000>;
				regulator-ramp-delay = <12500>;
				regulator-name = "vcc_3v3_s0";

				regulator-state-mem {
					regulator-off-in-suspend;
				};
			};

			vccio_sd_s0: pldo-reg5 {
				regulator-always-on;
				regulator-boot-on;
				regulator-min-microvolt = <1800000>;
				regulator-max-microvolt = <3300000>;
				regulator-ramp-delay = <12500>;
				regulator-name = "vccio_sd_s0";

				regulator-state-mem {
					regulator-off-in-suspend;
				};
			};

			pldo6_s3: pldo-reg6 {
				regulator-always-on;
				regulator-boot-on;
				regulator-min-microvolt = <1800000>;
				regulator-max-microvolt = <1800000>;
				regulator-name = "pldo6_s3";

				regulator-state-mem {
					regulator-on-in-suspend;
					regulator-suspend-microvolt = <1800000>;
				};
			};

			vdd_0v75_s3: nldo-reg1 {
				regulator-always-on;
				regulator-boot-on;
				regulator-min-microvolt = <750000>;
				regulator-max-microvolt = <750000>;
				regulator-name = "vdd_0v75_s3";

				regulator-state-mem {
					regulator-on-in-suspend;
					regulator-suspend-microvolt = <750000>;
				};
			};

			vdd_ddr_pll_s0: nldo-reg2 {
				regulator-always-on;
				regulator-boot-on;
				regulator-min-microvolt = <850000>;
				regulator-max-microvolt = <850000>;
				regulator-name = "vdd_ddr_pll_s0";

				regulator-state-mem {
					regulator-off-in-suspend;
					regulator-suspend-microvolt = <850000>;
				};
			};

			avdd_0v75_s0: nldo-reg3 {
				regulator-always-on;
				regulator-boot-on;
				regulator-min-microvolt = <750000>;
				regulator-max-microvolt = <750000>;
				regulator-name = "avdd_0v75_s0";

				regulator-state-mem {
					regulator-off-in-suspend;
				};
			};

			vdd_0v85_s0: nldo-reg4 {
				regulator-always-on;
				regulator-boot-on;
				regulator-min-microvolt = <850000>;
				regulator-max-microvolt = <850000>;
				regulator-name = "vdd_0v85_s0";

				regulator-state-mem {
					regulator-off-in-suspend;
				};
			};

			vdd_0v75_s0: nldo-reg5 {
				regulator-always-on;
				regulator-boot-on;
				regulator-min-microvolt = <750000>;
				regulator-max-microvolt = <750000>;
				regulator-name = "vdd_0v75_s0";

				regulator-state-mem {
					regulator-off-in-suspend;
				};
			};
		};
	};
};

&tsadc {
	status = "okay";
};

&uart2 {
	pinctrl-0 = <&uart2m0_xfer>;
	status = "okay";
};

&u2phy0 {
	status = "okay";
};

&u2phy0_otg {
	status = "okay";
};

&u2phy1 {
	status = "okay";
};

&u2phy1_otg {
	status = "okay";
};

&u2phy2_host {
	status = "okay";
};

&u2phy3_host {
	status = "okay";
};

&u2phy2 {
	status = "okay";
};

&u2phy3 {
	status = "okay";
};

&usbdp_phy0 {
	mode-switch;
	orientation-switch;
	sbu1-dc-gpios = <&gpio4 RK_PA6 GPIO_ACTIVE_HIGH>;
	sbu2-dc-gpios = <&gpio4 RK_PA7 GPIO_ACTIVE_HIGH>;
	status = "okay";

	port {
		#address-cells = <1>;
		#size-cells = <0>;

		usbdp_phy0_typec_ss: endpoint@0 {
			reg = <0>;
			remote-endpoint = <&usbc0_ss>;
		};

		usbdp_phy0_typec_sbu: endpoint@1 {
			reg = <1>;
			remote-endpoint = <&usbc0_sbu>;
		};
	};
};

&usbdp_phy1 {
	phy-supply = <&vbus5v0_usb>;
	status = "okay";
};

&usb_host0_ehci {
	status = "okay";
};

&usb_host0_ohci {
	status = "okay";
};

&usb_host0_xhci {
	usb-role-switch;
	status = "okay";

	port {
		usb_host0_xhci_drd_sw: endpoint {
			remote-endpoint = <&usbc0_hs>;
		};
	};
};

&usb_host1_xhci {
	dr_mode = "host";
	status = "okay";
};

&usb_host1_ehci {
	status = "okay";
};

&usb_host1_ohci {
	status = "okay";
};

&vepu121_0 {
	compatible = "rockchip,vpu-jpege-core";
	reg = <0x0 0xfdba0000 0x0 0x400>;
	interrupt-names = "irq_jpege0";
	clock-names = "aclk_vcodec", "hclk_vcodec";
	rockchip,normal-rates = <594000000>, <0>;
	assigned-clocks = <&cru ACLK_JPEG_ENCODER0>;
	assigned-clock-rates = <594000000>;
	resets = <&cru SRST_A_JPEG_ENCODER0>, <&cru SRST_H_JPEG_ENCODER0>;
	reset-names = "video_a", "video_h";
	rockchip,skip-pmu-idle-request;
	rockchip,disable-auto-freq;
	rockchip,srv = <&mpp_srv>;
	rockchip,taskqueue-node = <2>;
	rockchip,ccu = <&jpege_ccu>;
	status = "okay";
};

&vepu121_0_mmu {
	interrupt-names = "irq_jpege0_mmu";
	status = "okay";
};

&vepu121_1 {
	compatible = "rockchip,vpu-jpege-core";
	reg = <0x0 0xfdba4000 0x0 0x400>;
	interrupt-names = "irq_jpege1";
	clock-names = "aclk_vcodec", "hclk_vcodec";
	rockchip,normal-rates = <594000000>, <0>;
	assigned-clocks = <&cru ACLK_JPEG_ENCODER1>;
	assigned-clock-rates = <594000000>;
	resets = <&cru SRST_A_JPEG_ENCODER1>, <&cru SRST_H_JPEG_ENCODER1>;
	reset-names = "video_a", "video_h";
	rockchip,skip-pmu-idle-request;
	rockchip,disable-auto-freq;
	rockchip,srv = <&mpp_srv>;
	rockchip,taskqueue-node = <2>;
	rockchip,ccu = <&jpege_ccu>;
	status = "okay";
};

&vepu121_1_mmu {
	interrupt-names = "irq_jpege1_mmu";
	status = "okay";
};

&vepu121_2 {
	compatible = "rockchip,vpu-jpege-core";
	reg = <0x0 0xfdba8000 0x0 0x400>;
	interrupt-names = "irq_jpege2";
	clock-names = "aclk_vcodec", "hclk_vcodec";
	rockchip,normal-rates = <594000000>, <0>;
	assigned-clocks = <&cru ACLK_JPEG_ENCODER2>;
	assigned-clock-rates = <594000000>;
	resets = <&cru SRST_A_JPEG_ENCODER2>, <&cru SRST_H_JPEG_ENCODER2>;
	reset-names = "video_a", "video_h";
	rockchip,skip-pmu-idle-request;
	rockchip,disable-auto-freq;
	rockchip,srv = <&mpp_srv>;
	rockchip,taskqueue-node = <2>;
	rockchip,ccu = <&jpege_ccu>;
	status = "okay";
};

&vepu121_2_mmu {
	interrupt-names = "irq_jpege2_mmu";
	status = "okay";
};

&vepu121_3 {
	compatible = "rockchip,vpu-jpege-core";
	reg = <0x0 0xfdbac000 0x0 0x400>;
	interrupt-names = "irq_jpege3";
	clock-names = "aclk_vcodec", "hclk_vcodec";
	rockchip,normal-rates = <594000000>, <0>;
	assigned-clocks = <&cru ACLK_JPEG_ENCODER3>;
	assigned-clock-rates = <594000000>;
	resets = <&cru SRST_A_JPEG_ENCODER3>, <&cru SRST_H_JPEG_ENCODER3>;
	reset-names = "video_a", "video_h";
	rockchip,skip-pmu-idle-request;
	rockchip,disable-auto-freq;
	rockchip,srv = <&mpp_srv>;
	rockchip,taskqueue-node = <2>;
	rockchip,ccu = <&jpege_ccu>;
	status = "okay";
};

&vepu121_3_mmu {
	interrupt-names = "irq_jpege3_mmu";
	status = "okay";
};

&vpu121 {
	compatible = "rockchip,vpu-encoder-v2";
	reg = <0x0 0xfdb50000 0x0 0x400>;
	interrupts = <GIC_SPI 120 IRQ_TYPE_LEVEL_HIGH 0>;
	interrupt-names = "irq_vepu";
	clock-names = "aclk_vcodec", "hclk_vcodec";
	rockchip,normal-rates = <594000000>, <0>;
	assigned-clocks = <&cru ACLK_VPU>;
	assigned-clock-rates = <594000000>;
	resets = <&cru SRST_A_VPU>, <&cru SRST_H_VPU>;
	reset-names = "shared_video_a", "shared_video_h";
	rockchip,skip-pmu-idle-request;
	rockchip,disable-auto-freq;
	iommus = <&vpu121_mmu>;
	rockchip,srv = <&mpp_srv>;
	rockchip,taskqueue-node = <0>;
	rockchip,resetgroup-node = <0>;
	status = "okay";
};

&vpu121_mmu {
	interrupt-names = "irq_vdpu_mmu";
	status = "okay";
};

&av1d {
	compatible = "rockchip,av1-decoder";
	reg = <0x0 0xfdc70000 0x0 0x800>,
	      <0x0 0xfdc80000 0x0 0x400>,
	      <0x0 0xfdc90000 0x0 0x400>;
	reg-names = "vcd", "cache", "afbc";
	interrupts = <GIC_SPI 108 IRQ_TYPE_LEVEL_HIGH 0>,
		     <GIC_SPI 107 IRQ_TYPE_LEVEL_HIGH 0>,
		     <GIC_SPI 106 IRQ_TYPE_LEVEL_HIGH 0>;
	interrupt-names = "irq_av1d", "irq_cache", "irq_afbc";
	clock-names = "aclk_vcodec", "hclk_vcodec";
	rockchip,normal-rates = <400000000>, <400000000>;
	resets = <&cru SRST_A_AV1>, <&cru SRST_P_AV1>;
	reset-names = "video_a", "video_h";
	iommus = <&av1d_mmu>;
	rockchip,srv = <&mpp_srv>;
	rockchip,taskqueue-node = <11>;
	status = "okay";
};

&vdec0 {
	compatible = "rockchip,rkv-decoder-v2";
	reg = <0x0 0xfdc38100 0x0 0x400>,
	      <0x0 0xfdc38000 0x0 0x100>;
	reg-names = "regs", "link";
	interrupt-names = "irq_rkvdec0";
	clock-names = "aclk_vcodec", "hclk_vcodec", "clk_core", "clk_cabac",
		      "clk_hevc_cabac";
	rockchip,normal-rates = <800000000>, <0>, <600000000>, <600000000>,
				<1000000000>;
	reset-names = "video_a", "video_h", "video_core", "video_cabac",
		      "video_hevc_cabac";
	rockchip,skip-pmu-idle-request;
	rockchip,srv = <&mpp_srv>;
	rockchip,ccu = <&rkvdec_ccu>;
	rockchip,core-mask = <0x00010001>;
	rockchip,task-capacity = <16>;
	rockchip,taskqueue-node = <9>;
	rockchip,sram = <&vdec0_sram>;
	rockchip,rcb-iova = <0xFFF00000 0x100000>;
	rockchip,rcb-info = <136 24576>, <137 49152>, <141 90112>, <140 49152>,
			    <139 180224>, <133 49152>, <134 8192>, <135 4352>,
			    <138 13056>, <142 291584>;
	rockchip,rcb-min-width = <512>;
	status = "okay";
};

&vdec0_mmu {
	interrupt-names = "irq_rkvdec0_mmu";
	rockchip,disable-mmu-reset;
	rockchip,enable-cmd-retry;
	rockchip,shootdown-entire;
	rockchip,master-handle-irq;
	status = "okay";
};

&vdec1 {
	status = "disabled";
};

&vdec1_mmu {
	status = "disabled";
};

&vop_mmu {
	status = "okay";
};

&vop {
	status = "okay";
};

&vp0 {
	vp0_out_hdmi0: endpoint@ROCKCHIP_VOP2_EP_HDMI0 {
		reg = <ROCKCHIP_VOP2_EP_HDMI0>;
		remote-endpoint = <&hdmi0_in_vp0>;
	};
};

&vp1 {
	vp1_out_hdmi1: endpoint@ROCKCHIP_VOP2_EP_HDMI1 {
		reg = <ROCKCHIP_VOP2_EP_HDMI1>;
		remote-endpoint = <&hdmi1_in_vp1>;
	};
};
